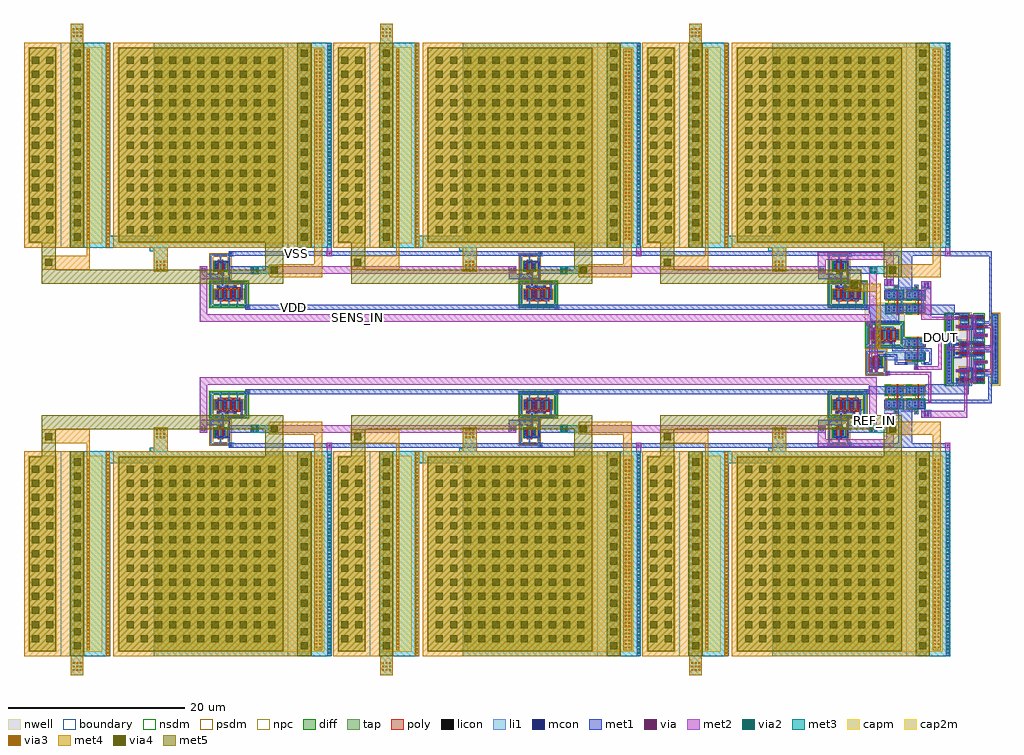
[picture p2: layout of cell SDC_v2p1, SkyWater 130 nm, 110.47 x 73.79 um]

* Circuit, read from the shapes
.subckt SDC_v2p1 DOUT REF_IN SENS_IN VDD VSS
XM1 VSS REF_IN OSC_v3p2_1/N1 VSS sky130_fd_pr__nfet_01v8 w=1 l=0.15 m=2
XM2 VSS SENS_IN OSC_v3p2_2/N1 VSS sky130_fd_pr__nfet_01v8 w=1 l=0.15 m=2
XM3 VSS OSC_v3p2_1/N1 OSC_v3p2_1/BUFFMIN_v1p1_3/VIN VSS sky130_fd_pr__nfet_01v8 w=1 l=0.15 m=2
XM4 VSS OSC_v3p2_2/N1 OSC_v3p2_2/BUFFMIN_v1p1_3/VIN VSS sky130_fd_pr__nfet_01v8 w=1 l=0.15 m=2
XM5 VSS OSC_v3p2_1/BUFFMIN_v1p1_3/VIN REF_IN VSS sky130_fd_pr__nfet_01v8 w=1 l=0.15 m=2
XM6 VSS OSC_v3p2_2/BUFFMIN_v1p1_3/VIN SENS_IN VSS sky130_fd_pr__nfet_01v8 w=1 l=0.15 m=2
XM7 OSC_v3p2_2/CON_CV DOUT SENS_IN VSS sky130_fd_pr__nfet_01v8 w=1 l=0.15 m=2
XM8 OSC_v3p2_1/BUFFMIN_v1p1_3/invmin_magic_v1p1_0/VIN OSC_v3p2_1/BUFFMIN_v1p1_3/VIN VSS VSS sky130_fd_pr__nfet_01v8 w=1 l=0.15
XM9 OSC_v3p2_2/BUFFMIN_v1p1_3/invmin_magic_v1p1_0/VIN OSC_v3p2_2/BUFFMIN_v1p1_3/VIN VSS VSS sky130_fd_pr__nfet_01v8 w=1 l=0.15
XM10 PASSGATE_v1p2_0/INVMIN_v1p1_0/VOUT DOUT VSS VSS sky130_fd_pr__nfet_01v8 w=1 l=0.15
XM11 DFF_v4p1_3/CLK OSC_v3p2_1/BUFFMIN_v1p1_3/invmin_magic_v1p1_0/VIN VSS VSS sky130_fd_pr__nfet_01v8 w=1 l=0.15
XM12 DFF_v4p1_3/IN OSC_v3p2_2/BUFFMIN_v1p1_3/invmin_magic_v1p1_0/VIN VSS VSS sky130_fd_pr__nfet_01v8 w=1 l=0.15
XM13 VSS n1 n2 VSS sky130_fd_pr__nfet_01v8 w=1 l=0.15
XM14 n3 DFF_v4p1_3/CLK VSS VSS sky130_fd_pr__nfet_01v8 w=1 l=0.15
XM15 DFF_v4p1_3/ND n2 n3 VSS sky130_fd_pr__nfet_01v8 w=1 l=0.15
XM16 VSS DOUT DFF_v4p1_3/ND VSS sky130_fd_pr__nfet_01v8 w=1 l=0.15
XM17 DOUT DFF_v4p1_3/ND VSS VSS sky130_fd_pr__nfet_01v8 w=1 l=0.15
XM18 n4 n1 DOUT VSS sky130_fd_pr__nfet_01v8 w=1 l=0.15
XM19 VSS DFF_v4p1_3/CLK n4 VSS sky130_fd_pr__nfet_01v8 w=1 l=0.15
XM20 n1 DFF_v4p1_3/IN VSS VSS sky130_fd_pr__nfet_01v8 w=1 l=0.15
XM21 VDD REF_IN OSC_v3p2_1/N1 VDD sky130_fd_pr__pfet_01v8 w=1 l=0.15 m=6
XM22 VDD SENS_IN OSC_v3p2_2/N1 VDD sky130_fd_pr__pfet_01v8 w=1 l=0.15 m=6
XM23 VDD OSC_v3p2_1/N1 OSC_v3p2_1/BUFFMIN_v1p1_3/VIN VDD sky130_fd_pr__pfet_01v8 w=1 l=0.15 m=6
XM24 VDD OSC_v3p2_2/N1 OSC_v3p2_2/BUFFMIN_v1p1_3/VIN VDD sky130_fd_pr__pfet_01v8 w=1 l=0.15 m=6
XM25 VDD OSC_v3p2_1/BUFFMIN_v1p1_3/VIN REF_IN VDD sky130_fd_pr__pfet_01v8 w=1 l=0.15 m=6
XM26 VDD OSC_v3p2_2/BUFFMIN_v1p1_3/VIN SENS_IN VDD sky130_fd_pr__pfet_01v8 w=1 l=0.15 m=6
XM27 OSC_v3p2_2/CON_CV PASSGATE_v1p2_0/INVMIN_v1p1_0/VOUT SENS_IN VDD sky130_fd_pr__pfet_01v8 w=1 l=0.15 m=6
XM28 OSC_v3p2_1/BUFFMIN_v1p1_3/invmin_magic_v1p1_0/VIN OSC_v3p2_1/BUFFMIN_v1p1_3/VIN VDD VDD sky130_fd_pr__pfet_01v8 w=1 l=0.15
XM29 OSC_v3p2_2/BUFFMIN_v1p1_3/invmin_magic_v1p1_0/VIN OSC_v3p2_2/BUFFMIN_v1p1_3/VIN VDD VDD sky130_fd_pr__pfet_01v8 w=1 l=0.15
XM30 PASSGATE_v1p2_0/INVMIN_v1p1_0/VOUT DOUT VDD VDD sky130_fd_pr__pfet_01v8 w=1 l=0.15
XM31 DFF_v4p1_3/CLK OSC_v3p2_1/BUFFMIN_v1p1_3/invmin_magic_v1p1_0/VIN VDD VDD sky130_fd_pr__pfet_01v8 w=1 l=0.15
XM32 DFF_v4p1_3/IN OSC_v3p2_2/BUFFMIN_v1p1_3/invmin_magic_v1p1_0/VIN VDD VDD sky130_fd_pr__pfet_01v8 w=1 l=0.15
XM33 n5 n1 VDD VDD sky130_fd_pr__pfet_01v8 w=1 l=0.15
XM34 n2 DFF_v4p1_3/CLK n5 VDD sky130_fd_pr__pfet_01v8 w=1 l=0.15
XM35 VDD DOUT DFF_v4p1_3/ND VDD sky130_fd_pr__pfet_01v8 w=1 l=0.15
XM36 DOUT DFF_v4p1_3/ND VDD VDD sky130_fd_pr__pfet_01v8 w=1 l=0.15
XM37 n6 DFF_v4p1_3/CLK n1 VDD sky130_fd_pr__pfet_01v8 w=1 l=0.15
XM38 VDD DFF_v4p1_3/IN n6 VDD sky130_fd_pr__pfet_01v8 w=1 l=0.15
XC39 OSC_v3p2_1/N1 VSS sky130_fd_pr__cap_mim_m3_2 w=3.2 l=22.2
XC40 OSC_v3p2_2/N1 VSS sky130_fd_pr__cap_mim_m3_2 w=3.2 l=22.2
XC41 OSC_v3p2_1/N1 VSS sky130_fd_pr__cap_mim_m3_1 w=3.2 l=22.2
XC42 OSC_v3p2_2/N1 VSS sky130_fd_pr__cap_mim_m3_1 w=3.2 l=22.2
XC43 OSC_v3p2_1/N1 VSS sky130_fd_pr__cap_mim_m3_2 w=18.8 l=22.2
XC44 OSC_v3p2_2/N1 VSS sky130_fd_pr__cap_mim_m3_2 w=18.8 l=22.2
XC45 OSC_v3p2_1/N1 VSS sky130_fd_pr__cap_mim_m3_1 w=18.8 l=22.2
XC46 OSC_v3p2_2/N1 VSS sky130_fd_pr__cap_mim_m3_1 w=18.8 l=22.2
XC47 OSC_v3p2_1/BUFFMIN_v1p1_3/VIN VSS sky130_fd_pr__cap_mim_m3_2 w=3.2 l=22.2
XC48 OSC_v3p2_2/BUFFMIN_v1p1_3/VIN VSS sky130_fd_pr__cap_mim_m3_2 w=3.2 l=22.2
XC49 OSC_v3p2_1/BUFFMIN_v1p1_3/VIN VSS sky130_fd_pr__cap_mim_m3_1 w=3.2 l=22.2
XC50 OSC_v3p2_2/BUFFMIN_v1p1_3/VIN VSS sky130_fd_pr__cap_mim_m3_1 w=3.2 l=22.2
XC51 OSC_v3p2_1/BUFFMIN_v1p1_3/VIN VSS sky130_fd_pr__cap_mim_m3_2 w=18.8 l=22.2
XC52 OSC_v3p2_2/BUFFMIN_v1p1_3/VIN VSS sky130_fd_pr__cap_mim_m3_2 w=18.8 l=22.2
XC53 OSC_v3p2_1/BUFFMIN_v1p1_3/VIN VSS sky130_fd_pr__cap_mim_m3_1 w=18.8 l=22.2
XC54 OSC_v3p2_2/BUFFMIN_v1p1_3/VIN VSS sky130_fd_pr__cap_mim_m3_1 w=18.8 l=22.2
XC55 REF_IN VSS sky130_fd_pr__cap_mim_m3_2 w=3.2 l=22.2
XC56 OSC_v3p2_2/CON_CV VSS sky130_fd_pr__cap_mim_m3_2 w=3.2 l=22.2
XC57 REF_IN VSS sky130_fd_pr__cap_mim_m3_1 w=3.2 l=22.2
XC58 OSC_v3p2_2/CON_CV VSS sky130_fd_pr__cap_mim_m3_1 w=3.2 l=22.2
XC59 REF_IN VSS sky130_fd_pr__cap_mim_m3_2 w=18.8 l=22.2
XC60 SENS_IN VSS sky130_fd_pr__cap_mim_m3_2 w=18.8 l=22.2
XC61 REF_IN VSS sky130_fd_pr__cap_mim_m3_1 w=18.8 l=22.2
XC62 SENS_IN VSS sky130_fd_pr__cap_mim_m3_1 w=18.8 l=22.2
.ends

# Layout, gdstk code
from math import pi, radians
import gdstk
lib = gdstk.Library(unit=1e-6, precision=1e-09)
def R(c, l, rs):  # rectangles x0, y0, x1, y1
    for r in rs: c.add(gdstk.rectangle(r[:2], r[2:], *l))
def A(c, l, x, y, w, h, nx, ny, dx, dy):  # array of equal rectangles
    R(c, l, [(x+i*dx, y+j*dy, x+i*dx+w, y+j*dy+h) for i in range(nx) for j in range(ny)])
nwell = (64, 20)
diff = (65, 20)
tap = (65, 44)
poly = (66, 20)
licon = (66, 44)
li1 = (67, 20)
mcon = (67, 44)
met1 = (68, 20)
via = (68, 44)
met2 = (69, 20)
via2 = (69, 44)
met3 = (70, 20)
via3 = (70, 44)
met4 = (71, 20)
via4 = (71, 44)
met5 = (72, 20)
capm = (89, 44)
nsdm = (93, 44)
psdm = (94, 20)
npc = (95, 20)
cap2m = (97, 44)
boundary = (235, 4)

invmin_v1p1 = lib.new_cell('INVMIN_v1p1')
R(invmin_v1p1, nwell, [(-1.5,1.25,0.85,2.65)])
R(invmin_v1p1, diff, [(-0.7,-0.1,0.65,0.9), (-0.7,1.45,0.65,2.45)])
R(invmin_v1p1, tap, [(-1.3,-0.1,-0.7,0.9), (-1.3,1.45,-0.7,2.45)])
R(invmin_v1p1, poly, [(-0.45,-0.75,0.05,-0.25), (-0.1,-0.25,0.05,2.6)])
R(invmin_v1p1, licon, [(-0.285,-0.585,-0.115,-0.415), (-1.085,0.145,-0.915,0.315), (-0.485,0.145,-0.315,0.315), (0.265,0.145,0.435,0.315), (-1.085,0.485,-0.915,0.655), (-0.485,0.485,-0.315,0.655), (0.265,0.485,0.435,0.655), (-1.085,1.695,-0.915,1.865), (-0.485,1.695,-0.315,1.865), (0.265,1.695,0.435,1.865), (-1.085,2.035,-0.915,2.205), (-0.485,2.035,-0.315,2.205), (0.265,2.035,0.435,2.205)])
R(invmin_v1p1, li1, [(-0.45,-0.75,0.05,-0.5), (-1.5,-0.5,0.05,-0.25), (0.35,-0.5,0.85,-0.25), (0.35,-0.25,0.6,-0.05), (-1.25,-0.05,-0.15,0.85), (0.1,-0.05,0.6,0.85), (0.35,0.85,0.6,1.5), (-1.25,1.5,-0.15,2.4), (0.1,1.5,0.6,2.4)])
R(invmin_v1p1, mcon, [(-1.085,0.135,-0.915,0.305), (-0.485,0.135,-0.315,0.305), (-1.085,0.495,-0.915,0.665), (-0.485,0.495,-0.315,0.665), (-1.085,1.685,-0.915,1.855), (-0.485,1.685,-0.315,1.855), (-1.085,2.045,-0.915,2.215), (-0.485,2.045,-0.315,2.215)])
R(invmin_v1p1, met1, [(-1.5,-0.05,0.85,0.85), (-1.5,1.5,0.85,2.4)])
R(invmin_v1p1, nsdm, [(-0.7,-0.225,0.775,1.025), (-1.08,0.975,-0.32,1.375), (-1.425,1.325,-0.7,2.575)])
R(invmin_v1p1, psdm, [(-1.425,-0.225,-0.7,1.025), (-1.08,0.975,-0.32,1.375), (-0.7,1.325,0.775,2.575)])
R(invmin_v1p1, npc, [(-0.385,-0.685,-0.015,-0.315)])
invmin_v1p1.add(gdstk.Label('VDD', (-1.5,1.95), layer=68, texttype=16))
invmin_v1p1.add(gdstk.Label('VSS', (-1.5,0.4), layer=68, texttype=16))
invmin_v1p1.add(gdstk.Label('VIN', (-1.5,-0.4), layer=67, texttype=16))
invmin_v1p1.add(gdstk.Label('VOUT', (0.85,-0.4), layer=67, texttype=16))

passgate_v1p2 = lib.new_cell('PASSGATE_v1p2')
R(passgate_v1p2, nwell, [(6.83,2.21,11.38,5.4)])
R(passgate_v1p2, diff, [(7.52,0.16,8.77,1.16), (7.52,3.31,10.69,4.31)])
R(passgate_v1p2, tap, [(7.01,-0.71,9.28,-0.54), (7.01,-0.54,7.18,1.86), (9.11,-0.54,9.28,1.86), (7.01,1.86,9.28,2.03), (7.01,2.39,11.2,2.56), (7.01,2.56,7.18,5.05), (11.03,2.56,11.2,5.05), (7.01,5.05,11.2,5.22)])
A(passgate_v1p2, poly, 7.74, 2.82, 0.33, 0.21, 3, 1, 0.96, 0)
A(passgate_v1p2, poly, 7.83, 3.18, 0.15, 1.25, 6, 1, 0.48, 0)
R(passgate_v1p2, poly, [(7.83,-0.1,8.46,0.05), (7.83,0.05,7.98,1.27), (8.31,0.05,8.46,1.27), (7.83,1.27,8.55,1.42), (8.22,1.42,8.55,1.6), (7.74,3.03,10.38,3.15), (7.83,3.15,10.38,3.18), (7.83,4.43,10.38,4.58)])
A(passgate_v1p2, licon, 7.55, -0.71, 0.17, 0.17, 4, 2, 0.34, 2.57)
A(passgate_v1p2, licon, 7.01, -0.105, 0.17, 0.17, 1, 5, 0, 0.34)
A(passgate_v1p2, licon, 9.11, -0.105, 0.17, 0.17, 1, 5, 0, 0.34)
A(passgate_v1p2, licon, 7.58, 0.235, 0.17, 0.17, 3, 3, 0.48, 0.34)
A(passgate_v1p2, licon, 7.49, 2.39, 0.17, 0.17, 10, 2, 0.34, 2.66)
A(passgate_v1p2, licon, 7.01, 2.87, 0.17, 0.17, 1, 6, 0, 0.34)
A(passgate_v1p2, licon, 11.03, 2.87, 0.17, 0.17, 1, 6, 0, 0.34)
A(passgate_v1p2, licon, 7.82, 2.9, 0.17, 0.17, 3, 1, 0.96, 0)
A(passgate_v1p2, licon, 7.58, 3.375, 0.17, 0.17, 7, 3, 0.48, 0.34)
R(passgate_v1p2, licon, [(8.3,1.35,8.47,1.52)])
A(passgate_v1p2, li1, 7.74, 2.9, 0.33, 0.17, 3, 1, 0.96, 0)
A(passgate_v1p2, li1, 8.06, 3.28, 0.17, 1.3, 3, 1, 0.96, 0)
A(passgate_v1p2, li1, 8.54, 3.28, 0.17, 1.04, 3, 1, 0.96, 0)
R(passgate_v1p2, li1, [(7.01,-0.71,9.28,-0.54), (7.01,-0.54,7.18,1.86), (9.11,-0.54,9.28,0.91), (7.46,-0.36,7.75,-0.11), (8.06,-0.36,8.23,1.18), (7.58,-0.11,7.75,1.18), (8.54,0.14,8.71,1.18), (13.53,0.46,13.8,0.71), (11.42,0.5,11.59,0.67), (9.11,0.91,11.63,1.81), (8.22,1.35,8.55,1.52), (9.11,1.81,9.28,1.86), (7.01,1.86,9.28,2.03), (7.01,2.39,11.2,2.46), (7.01,2.46,11.63,2.56), (7.01,2.56,7.18,5.05), (11.03,2.56,11.63,3.36), (7.58,3.28,7.75,4.63), (11.03,3.36,11.2,5.05), (8.06,4.58,10.15,4.75), (7.46,4.63,7.75,4.88), (8.06,4.75,8.23,4.88), (7.01,5.05,11.2,5.22)])
A(passgate_v1p2, mcon, 7.82, 2.9, 0.17, 0.17, 3, 1, 0.96, 0)
A(passgate_v1p2, mcon, 7.58, 3.535, 0.17, 0.17, 4, 2, 0.96, 0.36)
R(passgate_v1p2, mcon, [(7.46,-0.36,7.63,-0.19), (8.06,-0.36,8.23,-0.19), (7.58,0.395,7.75,0.565), (8.54,0.395,8.71,0.565), (11.42,0.5,11.59,0.67), (13.57,0.5,13.74,0.67), (7.58,0.755,7.75,0.925), (8.54,0.755,8.71,0.925), (8.3,1.35,8.47,1.52), (7.46,4.63,7.63,4.8), (8.06,4.63,8.23,4.8)])
A(passgate_v1p2, met1, 7.55, 3.3, 0.23, 0.94, 4, 1, 0.96, 0)
R(passgate_v1p2, met1, [(7.38,-0.44,7.71,-0.11), (7.98,-0.44,8.31,-0.11), (7.58,0.07,8.96,0.16), (7.55,0.16,8.96,0.22), (7.55,0.22,7.78,1.16), (8.51,0.22,8.74,1.16), (13.51,0.43,14.41,0.73), (10.26,0.44,11.65,0.73), (10.26,0.73,10.55,1.31), (14.12,0.73,14.41,1.97), (8.22,1.31,10.55,1.6), (9.97,1.97,14.41,2.26), (9.97,2.26,10.26,2.87), (7.76,2.87,10.26,3.1), (7.55,4.24,10.66,4.3), (7.58,4.3,10.63,4.38), (7.38,4.55,7.71,4.88), (7.98,4.55,8.31,4.88)])
R(passgate_v1p2, via, [(7.47,-0.35,7.62,-0.2), (8.07,-0.35,8.22,-0.2), (7.47,4.64,7.62,4.79), (8.07,4.64,8.22,4.79)])
R(passgate_v1p2, met2, [(7.38,-0.44,7.72,4.88), (7.98,-0.44,8.31,4.88)])
R(passgate_v1p2, nsdm, [(7.395,0.035,8.895,1.285), (6.885,2.265,11.325,2.285), (6.885,2.285,11.455,2.685), (6.885,2.685,7.305,4.925), (10.905,2.685,11.455,3.535), (10.905,3.535,11.325,4.925), (6.885,4.925,11.325,5.345)])
R(passgate_v1p2, psdm, [(6.885,-0.835,9.405,-0.415), (6.885,-0.415,7.305,1.735), (8.985,-0.415,9.405,1.735), (6.885,1.735,9.405,2.155), (7.395,3.185,10.815,4.435)])
A(passgate_v1p2, npc, 7.72, 2.8, 0.37, 0.37, 3, 1, 0.96, 0)
R(passgate_v1p2, npc, [(8.2,1.25,8.57,1.62)])
passgate_v1p2.add(gdstk.Reference(invmin_v1p1, (12.88,0.96)))
passgate_v1p2.add(gdstk.Label('CTR', (8.83,1.44), layer=68, texttype=16))
passgate_v1p2.add(gdstk.Label('VDD', (11.48,2.94), layer=67, texttype=16))
passgate_v1p2.add(gdstk.Label('VSS', (11.03,1.36), layer=67, texttype=16))
passgate_v1p2.add(gdstk.Label('VIN', (7.54,4.7), layer=69, texttype=16))
passgate_v1p2.add(gdstk.Label('VOUT', (8.16,-0.27), layer=69, texttype=16))

inv_v1p1 = lib.new_cell('INV_v1p1')
R(inv_v1p1, nwell, [(6.83,2.21,11.38,5.4)])
R(inv_v1p1, diff, [(7.52,0.16,8.77,1.16), (7.52,3.305,10.69,4.305)])
R(inv_v1p1, tap, [(7.01,-0.71,9.28,-0.54), (7.01,-0.54,7.18,1.86), (9.11,-0.54,9.28,1.86), (7.01,1.86,9.28,2.03), (7.01,2.39,11.2,2.56), (7.01,2.56,7.18,5.05), (11.03,2.56,11.2,5.05), (7.01,5.05,11.2,5.22)])
A(inv_v1p1, poly, 7.74, 2.82, 0.33, 0.21, 3, 1, 0.96, 0)
A(inv_v1p1, poly, 7.83, 3.18, 0.15, 1.25, 6, 1, 0.48, 0)
R(inv_v1p1, poly, [(7.83,-0.1,8.46,0.05), (7.83,0.05,7.98,1.27), (8.31,0.05,8.46,1.27), (7.83,1.27,8.55,1.42), (8.22,1.42,8.55,1.6), (7.74,3.03,10.38,3.15), (7.83,3.15,10.38,3.18), (7.83,4.43,10.38,4.58)])
A(inv_v1p1, licon, 7.55, -0.71, 0.17, 0.17, 4, 2, 0.34, 2.57)
A(inv_v1p1, licon, 7.01, -0.105, 0.17, 0.17, 1, 5, 0, 0.34)
A(inv_v1p1, licon, 9.11, -0.105, 0.17, 0.17, 1, 5, 0, 0.34)
A(inv_v1p1, licon, 7.58, 0.235, 0.17, 0.17, 3, 3, 0.48, 0.34)
A(inv_v1p1, licon, 7.49, 2.39, 0.17, 0.17, 10, 2, 0.34, 2.66)
A(inv_v1p1, licon, 7.01, 2.87, 0.17, 0.17, 1, 6, 0, 0.34)
A(inv_v1p1, licon, 11.03, 2.87, 0.17, 0.17, 1, 6, 0, 0.34)
A(inv_v1p1, licon, 7.82, 2.9, 0.17, 0.17, 3, 1, 0.96, 0)
A(inv_v1p1, licon, 7.58, 3.38, 0.17, 0.17, 7, 3, 0.48, 0.34)
R(inv_v1p1, licon, [(8.3,1.35,8.47,1.52)])
A(inv_v1p1, li1, 7.74, 2.9, 0.33, 0.17, 3, 1, 0.96, 0)
A(inv_v1p1, li1, 7.58, 3.285, 0.17, 1.04, 4, 1, 0.96, 0)
A(inv_v1p1, li1, 8.06, 3.285, 0.17, 1.765, 3, 1, 0.96, 0)
R(inv_v1p1, li1, [(7.01,-0.71,9.28,-0.54), (7.01,-0.54,7.18,1.86), (8.06,-0.54,8.23,1.18), (9.11,-0.54,9.28,1.86), (7.58,0.14,7.75,1.18), (8.54,0.14,8.71,1.18), (8.22,1.35,8.55,1.52), (7.01,1.86,9.28,2.03), (7.01,2.39,11.2,2.56), (7.01,2.56,7.18,5.05), (11.03,2.56,11.2,5.05), (7.01,5.05,11.2,5.22)])
A(inv_v1p1, mcon, 7.82, 2.9, 0.17, 0.17, 3, 1, 0.96, 0)
A(inv_v1p1, mcon, 7.58, 3.54, 0.17, 0.17, 4, 2, 0.96, 0.36)
R(inv_v1p1, mcon, [(7.58,0.395,7.75,0.565), (8.54,0.395,8.71,0.565), (7.58,0.755,7.75,0.925), (8.54,0.755,8.71,0.925), (8.3,1.35,8.47,1.52)])
A(inv_v1p1, met1, 7.55, 3.305, 0.23, 0.935, 3, 1, 0.96, 0)
R(inv_v1p1, met1, [(7.58,0.07,9.28,0.16), (7.55,0.16,9.28,0.22), (7.55,0.22,7.78,1.16), (8.51,0.22,8.74,1.16), (9.11,0.22,9.28,2.39), (8.24,1.32,8.53,1.55), (8.3,1.55,8.47,2.87), (9.11,2.39,10.66,2.56), (10.43,2.56,10.66,4.24), (7.76,2.87,9.97,3.1), (7.55,4.24,10.66,4.305), (7.58,4.305,10.63,4.38)])
R(inv_v1p1, nsdm, [(7.395,0.035,8.895,1.285), (6.885,2.265,11.325,2.685), (6.885,2.685,7.305,4.925), (10.905,2.685,11.325,4.925), (6.885,4.925,11.325,5.345)])
R(inv_v1p1, psdm, [(6.885,-0.835,9.405,-0.415), (6.885,-0.415,7.305,1.735), (8.985,-0.415,9.405,1.735), (6.885,1.735,9.405,2.155), (7.395,3.18,10.815,4.43)])
A(inv_v1p1, npc, 7.72, 2.8, 0.37, 0.37, 3, 1, 0.96, 0)
R(inv_v1p1, npc, [(8.2,1.25,8.57,1.62)])
inv_v1p1.add(gdstk.Label('VIN', (8.37,2.16), layer=68, texttype=16))
inv_v1p1.add(gdstk.Label('VOUT', (9.19,2.15), layer=68, texttype=16))
inv_v1p1.add(gdstk.Label('VDD', (11.12,5.12), layer=67, texttype=16))
inv_v1p1.add(gdstk.Label('VSS', (9.19,-0.61), layer=67, texttype=16))

sky130_fd_pr__cap_mim_m3 = lib.new_cell('sky130_fd_pr__cap_mim_m3_2_7PBNAZ')
R(sky130_fd_pr__cap_mim_m3, met4, [(-3.355,-11.6,3.355,11.6)])
A(sky130_fd_pr__cap_mim_m3, via4, 2.265, -10.8, 0.8, 0.8, 1, 14, 0, 1.6)
A(sky130_fd_pr__cap_mim_m3, via4, -2.455, -10, 0.8, 0.8, 1, 13, 0, 1.6)
A(sky130_fd_pr__cap_mim_m3, via4, -0.855, -10, 0.8, 0.8, 1, 13, 0, 1.6)
R(sky130_fd_pr__cap_mim_m3, met5, [(1.865,-11.605,3.465,11.605), (-2.775,-11.02,0.265,11.02)])
R(sky130_fd_pr__cap_mim_m3, cap2m, [(-2.855,-11.1,0.345,11.1)])
R(sky130_fd_pr__cap_mim_m3, boundary, [(-3.355,-11.6,0.845,11.6)])

c_sky130_fd_pr__cap_mim_m3 = lib.new_cell('sky130_fd_pr__cap_mim_m3_2_4SGG6N')
R(c_sky130_fd_pr__cap_mim_m3, met4, [(-11.155,-11.6,11.155,11.6)])
A(c_sky130_fd_pr__cap_mim_m3, via4, 10.065, -10.8, 0.8, 0.8, 1, 14, 0, 1.6)
A(c_sky130_fd_pr__cap_mim_m3, via4, -9.655, -10, 0.8, 0.8, 11, 13, 1.6, 1.6)
R(c_sky130_fd_pr__cap_mim_m3, met5, [(9.665,-11.605,11.265,11.605), (-10.575,-11.02,8.065,11.02)])
R(c_sky130_fd_pr__cap_mim_m3, cap2m, [(-10.655,-11.1,8.145,11.1)])
R(c_sky130_fd_pr__cap_mim_m3, boundary, [(-11.155,-11.6,8.645,11.6)])

c_sky130_fd_pr__cap_mim_m3_ = lib.new_cell('sky130_fd_pr__cap_mim_m3_1_9K4XRG')
R(c_sky130_fd_pr__cap_mim_m3_, met3, [(-2.28,-11.6,2.28,11.6)])
A(c_sky130_fd_pr__cap_mim_m3_, via3, 1.92, -11.3, 0.2, 0.2, 1, 57, 0, 0.4)
A(c_sky130_fd_pr__cap_mim_m3_, via3, -0.28, -10.7, 0.2, 0.2, 1, 54, 0, 0.4)
R(c_sky130_fd_pr__cap_mim_m3_, met4, [(1.78,-11.54,2.26,11.54), (-0.345,-10.905,-0.015,10.905)])
R(c_sky130_fd_pr__cap_mim_m3_, capm, [(-1.78,-11.1,1.42,11.1)])
R(c_sky130_fd_pr__cap_mim_m3_, boundary, [(-2.28,-11.6,1.92,11.6)])

caposc_v1p1 = lib.new_cell('CAPOSC_v1p1')
R(caposc_v1p1, met2, [(49.69,0.09,50.11,23.11)])
A(caposc_v1p1, via2, 49.8, 0.3, 0.2, 0.2, 1, 57, 0, 0.4)
R(caposc_v1p1, met3, [(20.65,-2.16,22.07,0.01), (30,0,50.16,21.87), (25.08,21.87,50.16,23.2), (30,23.2,31.6,25.95)])
A(caposc_v1p1, via3, 20.87, -1.64, 0.2, 0.2, 3, 3, 0.4, 0.4)
A(caposc_v1p1, via3, 48.34, 0.9, 0.2, 0.2, 1, 54, 0, 0.4)
A(caposc_v1p1, via3, 48.74, 0.9, 0.2, 0.2, 1, 54, 0, 0.4)
A(caposc_v1p1, via3, 30.3, 24.71, 0.2, 0.2, 3, 3, 0.4, 0.4)
R(caposc_v1p1, met4, [(20.65,-2.16,22.07,0.01), (48.17,0.69,49.11,25.07), (22.45,22.49,22.79,24.13), (30,23.2,31.6,25.95), (17.35,24.13,22.79,25.71), (44.24,25.07,49.11,25.16), (43.06,25.16,49.11,26.34), (43.14,26.34,49.11,26.53)])
R(caposc_v1p1, via4, [(17.72,24.48,18.52,25.28), (43.25,25.35,44.05,26.15)])
R(caposc_v1p1, met5, [(17.36,22.5,17.53,22.62), (42.63,22.5,44.68,26.53), (17.36,22.62,18.96,25.7)])
R(caposc_v1p1, capm, [(30.5,0.5,49.3,22.7)])
caposc_v1p1.add(gdstk.Reference(sky130_fd_pr__cap_mim_m3, (18.695,11.6)))
caposc_v1p1.add(gdstk.Reference(c_sky130_fd_pr__cap_mim_m3, (36.615,11.6)))
caposc_v1p1.add(gdstk.Reference(c_sky130_fd_pr__cap_mim_m3_, (22.8,11.6)))
caposc_v1p1.add(gdstk.Label('BOT', (30.7,23.82), layer=71, texttype=16))
caposc_v1p1.add(gdstk.Label('TOP_V', (20.55,24.93), layer=71, texttype=16))
caposc_v1p1.add(gdstk.Label('TOP_B', (46.05,25.76), layer=71, texttype=16))

invandcap_v1p1 = lib.new_cell('INVandCAP_v1p1')
R(invandcap_v1p1, li1, [(23.23,25.82,23.67,26.26), (25.09,31.85,25.59,32.35)])
R(invandcap_v1p1, mcon, [(23.365,25.955,23.535,26.125), (25.255,32.015,25.425,32.185)])
R(invandcap_v1p1, met1, [(23.17,25.76,23.72,25.79), (34.31,25.76,34.84,25.79), (23.17,25.79,34.84,26.29), (23.17,26.29,23.72,26.32), (34.31,26.29,34.84,26.32), (19.88,27.49,20.72,28.33), (23.37,27.49,26.55,28.33), (19.88,28.33,22.56,28.92), (25.06,31.82,25.62,32.38)])
R(invandcap_v1p1, via, [(34.485,25.965,34.635,26.115), (20.065,27.675,20.215,27.825), (20.385,27.675,20.535,27.825), (25.895,27.675,26.045,27.825), (26.215,27.675,26.365,27.825), (20.065,27.995,20.215,28.145), (20.385,27.995,20.535,28.145), (25.895,27.995,26.045,28.145), (26.215,27.995,26.365,28.145)])
R(invandcap_v1p1, met2, [(34.28,25.22,34.84,26.32), (25.69,27.47,26.57,28.35), (19.88,27.49,20.72,28.33)])
R(invandcap_v1p1, via2, [(25.83,27.61,26.03,27.81), (26.23,27.61,26.43,27.81), (25.83,28.01,26.03,28.21), (26.23,28.01,26.43,28.21)])
R(invandcap_v1p1, met3, [(25.7,27.49,28.73,28.33)])
R(invandcap_v1p1, via3, [(28.01,27.61,28.21,27.81), (28.41,27.61,28.61,27.81), (28.01,28.01,28.21,28.21), (28.41,28.01,28.61,28.21)])
R(invandcap_v1p1, met4, [(27.92,27.52,28.7,28.3)])
invandcap_v1p1.add(gdstk.Reference(inv_v1p1, (14.09,26.83)))
invandcap_v1p1.add(gdstk.Reference(caposc_v1p1, (-15.34,2.16)))
invandcap_v1p1.add(gdstk.Label('VDD', (25.17,31.96), layer=68, texttype=16))
invandcap_v1p1.add(gdstk.Label('VSS', (24.92,26.02), layer=68, texttype=16))
invandcap_v1p1.add(gdstk.Label('VOUT', (26.1,27.9), layer=70, texttype=16))

invmin_magic_v1p1 = lib.new_cell('invmin_magic_v1p1')
R(invmin_magic_v1p1, nwell, [(-1.5,1.25,0.85,2.65)])
R(invmin_magic_v1p1, diff, [(-0.7,-0.1,0.65,0.9), (-0.7,1.45,0.65,2.45)])
R(invmin_magic_v1p1, tap, [(-1.3,-0.1,-0.7,0.9), (-1.3,1.45,-0.7,2.45)])
R(invmin_magic_v1p1, poly, [(-0.45,-0.75,0.05,-0.25), (-0.1,-0.25,0.05,2.6)])
R(invmin_magic_v1p1, licon, [(-0.285,-0.585,-0.115,-0.415), (-1.085,0.145,-0.915,0.315), (-0.485,0.145,-0.315,0.315), (0.265,0.145,0.435,0.315), (-1.085,0.485,-0.915,0.655), (-0.485,0.485,-0.315,0.655), (0.265,0.485,0.435,0.655), (-1.085,1.695,-0.915,1.865), (-0.485,1.695,-0.315,1.865), (0.265,1.695,0.435,1.865), (-1.085,2.035,-0.915,2.205), (-0.485,2.035,-0.315,2.205), (0.265,2.035,0.435,2.205)])
R(invmin_magic_v1p1, li1, [(-0.45,-0.75,0.05,-0.5), (-1.5,-0.5,0.05,-0.25), (0.35,-0.5,0.85,-0.25), (0.35,-0.25,0.6,-0.05), (-1.25,-0.05,-0.15,0.85), (0.1,-0.05,0.6,0.85), (0.35,0.85,0.6,1.5), (-1.25,1.5,-0.15,2.4), (0.1,1.5,0.6,2.4)])
R(invmin_magic_v1p1, mcon, [(-1.085,0.135,-0.915,0.305), (-0.485,0.135,-0.315,0.305), (-1.085,0.495,-0.915,0.665), (-0.485,0.495,-0.315,0.665), (-1.085,1.685,-0.915,1.855), (-0.485,1.685,-0.315,1.855), (-1.085,2.045,-0.915,2.215), (-0.485,2.045,-0.315,2.215)])
R(invmin_magic_v1p1, met1, [(-1.5,-0.05,0.85,0.85), (-1.5,1.5,0.85,2.4)])
R(invmin_magic_v1p1, nsdm, [(-0.7,-0.225,0.775,1.025), (-1.08,0.975,-0.32,1.375), (-1.425,1.325,-0.7,2.575)])
R(invmin_magic_v1p1, psdm, [(-1.425,-0.225,-0.7,1.025), (-1.08,0.975,-0.32,1.375), (-0.7,1.325,0.775,2.575)])
R(invmin_magic_v1p1, npc, [(-0.385,-0.685,-0.015,-0.315)])
invmin_magic_v1p1.add(gdstk.Label('VDD', (-1.5,1.95), layer=68, texttype=16))
invmin_magic_v1p1.add(gdstk.Label('VSS', (-1.5,0.4), layer=68, texttype=16))
invmin_magic_v1p1.add(gdstk.Label('VIN', (-1.5,-0.4), layer=67, texttype=16))
invmin_magic_v1p1.add(gdstk.Label('VOUT', (0.85,-0.4), layer=67, texttype=16))

buffmin_v1p1 = lib.new_cell('BUFFMIN_v1p1')
R(buffmin_v1p1, li1, [(-0.15,0.2,0.1,0.45), (4.3,0.2,4.55,0.45)])
R(buffmin_v1p1, met1, [(-0.15,0.65,0.15,1.55), (-0.15,2.2,0.15,3.1)])
R(buffmin_v1p1, nsdm, [(1.745,1.675,2.62,2.075), (2.125,1.685,2.275,1.725), (2.125,2.025,2.275,2.065)])
R(buffmin_v1p1, psdm, [(1.745,1.675,2.62,2.075), (2.125,1.685,2.275,1.725), (2.125,2.025,2.275,2.065)])
buffmin_v1p1.add(gdstk.Reference(invmin_magic_v1p1, (3.7,0.7)))
buffmin_v1p1.add(gdstk.Reference(invmin_magic_v1p1, (1.35,0.7)))
buffmin_v1p1.add(gdstk.Label('VDD', (-0.03,2.66), layer=68, texttype=16))
buffmin_v1p1.add(gdstk.Label('VSS', (-0.07,1.08), layer=68, texttype=16))
buffmin_v1p1.add(gdstk.Label('VIN', (-0.02,0.34), layer=67, texttype=16))
buffmin_v1p1.add(gdstk.Label('VOUT', (4.35,0.31), layer=67, texttype=16))

osc_v3p2 = lib.new_cell('OSC_v3p2')
R(osc_v3p2, li1, [(97.31,29.01,98.37,30.14), (101.52,29.23,102.64,30.14)])
R(osc_v3p2, mcon, [(97.575,29.11,97.745,29.28), (97.935,29.11,98.105,29.28), (101.815,29.38,101.985,29.55), (102.175,29.38,102.345,29.55), (97.575,29.47,97.745,29.64), (97.935,29.47,98.105,29.64), (101.815,29.74,101.985,29.91), (102.175,29.74,102.345,29.91)])
R(osc_v3p2, met1, [(23.61,25.84,104.78,26.34), (98.88,26.34,102.02,26.35), (98.88,26.35,100.46,30.22), (97.31,29.01,98.37,29.75), (101.52,29.23,102.64,30), (97.32,30.22,100.46,30.23), (97.32,30.23,102.02,30.34), (95.56,31.86,97.32,31.87), (25,31.87,97.32,32.43), (95.56,32.43,97.32,32.79)])
R(osc_v3p2, via, [(97.605,29.3,97.755,29.45), (97.925,29.3,98.075,29.45), (101.845,29.57,101.995,29.72), (102.165,29.57,102.315,29.72)])
R(osc_v3p2, met2, [(89.79,25.95,98.38,26.81), (89.8,26.81,90.66,27.52), (97.51,26.81,98.37,29.01), (25.63,27.52,55.66,28.38), (60.63,27.52,90.66,28.38), (95.63,27.52,96.47,32.96), (19.82,27.54,20.66,32.96), (97.31,29.01,98.37,29.75), (101.52,29.23,102.64,30), (19.82,32.96,96.47,33.8)])
A(osc_v3p2, met3, 14.2, 25.01, 0.8, 0.8, 3, 1, 35, 0)
R(osc_v3p2, met5, [(1.96,27.91,29.28,29.51), (36.96,27.91,64.28,29.51), (71.96,27.91,94.68,29.51)])
osc_v3p2.add(gdstk.Reference(invandcap_v1p1, (-0.06,0.05)))
osc_v3p2.add(gdstk.Reference(invandcap_v1p1, (34.94,0.05)))
osc_v3p2.add(gdstk.Reference(invandcap_v1p1, (69.94,0.05)))
osc_v3p2.add(gdstk.Reference(buffmin_v1p1, (97.47,29.69)))
osc_v3p2.add(gdstk.Label('VDD', (28.13,32.12), layer=68, texttype=16))
osc_v3p2.add(gdstk.Label('VSS', (27.56,26.02), layer=68, texttype=16))
osc_v3p2.add(gdstk.Label('N2', (101.81,30), layer=67, texttype=16))
osc_v3p2.add(gdstk.Label('SENS_IN', (20.24,33.33), layer=69, texttype=16))
osc_v3p2.add(gdstk.Label('N1', (35.2,27.9), layer=69, texttype=16))
osc_v3p2.add(gdstk.Label('CON_CV', (80.06,28.77), layer=72, texttype=16))

sky130_fd_pr__nfet_01v8_ = lib.new_cell('sky130_fd_pr__nfet_01v8_6H9P4D')
R(sky130_fd_pr__nfet_01v8_, diff, [(-0.365,-0.5,0.365,0.5)])
R(sky130_fd_pr__nfet_01v8_, poly, [(-0.075,-0.63,0.075,0.63)])
A(sky130_fd_pr__nfet_01v8_, licon, -0.305, -0.425, 0.17, 0.17, 1, 3, 0, 0.34)
A(sky130_fd_pr__nfet_01v8_, licon, 0.135, -0.425, 0.17, 0.17, 1, 3, 0, 0.34)
R(sky130_fd_pr__nfet_01v8_, li1, [(-0.305,-0.52,-0.135,0.52), (0.135,-0.52,0.305,0.52)])
R(sky130_fd_pr__nfet_01v8_, mcon, [(-0.305,-0.265,-0.135,-0.095), (0.135,-0.265,0.305,-0.095), (-0.305,0.095,-0.135,0.265), (0.135,0.095,0.305,0.265)])
R(sky130_fd_pr__nfet_01v8_, met1, [(-0.335,-0.5,-0.105,0.5), (0.105,-0.5,0.335,0.5)])
R(sky130_fd_pr__nfet_01v8_, nsdm, [(-0.49,-0.625,0.49,0.625)])

c_sky130_fd_pr__nfet_01v8_ = lib.new_cell('sky130_fd_pr__nfet_01v8_59MFY5')
R(c_sky130_fd_pr__nfet_01v8_, diff, [(-0.365,-0.345,0.365,0.655)])
R(c_sky130_fd_pr__nfet_01v8_, poly, [(-0.165,-0.785,0.165,-0.455), (-0.075,-0.455,0.075,0.785)])
A(c_sky130_fd_pr__nfet_01v8_, licon, -0.305, -0.27, 0.17, 0.17, 1, 3, 0, 0.34)
A(c_sky130_fd_pr__nfet_01v8_, licon, 0.135, -0.27, 0.17, 0.17, 1, 3, 0, 0.34)
R(c_sky130_fd_pr__nfet_01v8_, licon, [(-0.085,-0.705,0.085,-0.535)])
R(c_sky130_fd_pr__nfet_01v8_, li1, [(-0.165,-0.705,0.165,-0.535), (-0.305,-0.365,-0.135,0.675), (0.135,-0.365,0.305,0.675)])
R(c_sky130_fd_pr__nfet_01v8_, mcon, [(-0.085,-0.705,0.085,-0.535), (-0.305,-0.11,-0.135,0.06), (0.135,-0.11,0.305,0.06), (-0.305,0.25,-0.135,0.42), (0.135,0.25,0.305,0.42)])
R(c_sky130_fd_pr__nfet_01v8_, met1, [(-0.145,-0.735,0.145,-0.505), (-0.335,-0.345,-0.105,0.655), (0.105,-0.345,0.335,0.655)])
R(c_sky130_fd_pr__nfet_01v8_, nsdm, [(-0.49,-0.47,0.49,0.78)])
R(c_sky130_fd_pr__nfet_01v8_, npc, [(-0.185,-0.805,0.185,-0.435)])

sky130_fd_pr__pfet_01v8_ = lib.new_cell('sky130_fd_pr__pfet_01v8_MA8JHN')
R(sky130_fd_pr__pfet_01v8_, nwell, [(-0.545,-0.99,0.545,0.82)])
R(sky130_fd_pr__pfet_01v8_, diff, [(-0.365,-0.68,0.365,0.32)])
R(sky130_fd_pr__pfet_01v8_, poly, [(-0.075,-0.81,0.075,0.475), (-0.165,0.475,0.165,0.805)])
A(sky130_fd_pr__pfet_01v8_, licon, -0.305, -0.605, 0.17, 0.17, 1, 3, 0, 0.34)
A(sky130_fd_pr__pfet_01v8_, licon, 0.135, -0.605, 0.17, 0.17, 1, 3, 0, 0.34)
R(sky130_fd_pr__pfet_01v8_, licon, [(-0.085,0.555,0.085,0.725)])
R(sky130_fd_pr__pfet_01v8_, li1, [(-0.305,-0.7,-0.135,0.34), (0.135,-0.7,0.305,0.34), (-0.165,0.555,0.165,0.725)])
R(sky130_fd_pr__pfet_01v8_, mcon, [(-0.305,-0.445,-0.135,-0.275), (0.135,-0.445,0.305,-0.275), (-0.305,-0.085,-0.135,0.085), (0.135,-0.085,0.305,0.085), (-0.085,0.555,0.085,0.725)])
R(sky130_fd_pr__pfet_01v8_, met1, [(-0.335,-0.68,-0.105,0.32), (0.105,-0.68,0.335,0.32), (-0.145,0.525,0.145,0.755)])
R(sky130_fd_pr__pfet_01v8_, psdm, [(-0.49,-0.805,0.49,0.445)])
R(sky130_fd_pr__pfet_01v8_, npc, [(-0.185,0.455,0.185,0.825)])

dff_v4p1 = lib.new_cell('DFF_v4p1')
R(dff_v4p1, nwell, [(-3.18,0,5.18,3.13)])
R(dff_v4p1, tap, [(-3,-3.09,5,-2.29), (-3,2.14,5,2.94)])
R(dff_v4p1, poly, [(-2.53,-0.21,-2.38,0.18), (0.47,-0.21,0.62,0.18), (1.47,-0.21,1.62,0.18), (4.47,-0.21,4.62,0.18)])
A(dff_v4p1, licon, -2.655, -2.775, 0.17, 0.17, 22, 2, 0.34, 5.23)
R(dff_v4p1, li1, [(-2.88,-2.97,4.88,-2.41), (-3.16,-0.1,3.41,0.07), (-3.16,0.07,-2.99,1.55), (3.24,0.07,3.41,0.29), (1.85,1.16,2.1,1.33), (1.93,1.33,2.1,1.91), (-3.16,1.55,-2.29,1.72), (0.47,1.71,0.64,1.91), (0.47,1.91,2.1,2.08), (-2.88,2.26,4.88,2.83)])
A(dff_v4p1, mcon, -2.685, -2.775, 0.17, 0.17, 21, 2, 0.36, 5.23)
A(dff_v4p1, met1, 1.88, -1.34, 0.33, 1, 3, 1, 1, 0)
A(dff_v4p1, met1, -2.12, 0.31, 0.33, 1, 3, 1, 3, 0)
R(dff_v4p1, met1, [(-2.88,-2.97,4.88,-2.41), (-2.08,-2.41,-1.79,-1.34), (0.65,-2.41,1.44,-0.34), (3.88,-2.41,4.17,-1.34), (-0.62,-1.83,-0.29,-1.5), (2.39,-1.83,2.72,-1.78), (-1.62,-1.82,-1.29,-1.5), (3.38,-1.82,3.71,-1.5), (2.38,-1.78,2.72,-1.5), (-2.15,-1.34,-1.79,-0.34), (-1.12,-1.34,-0.79,-0.34), (-0.12,-1.34,0.21,-0.34), (-2.79,-0.34,-2.56,-0.2), (0.21,-0.34,0.44,0.31), (1.65,-0.34,1.88,0.31), (4.65,-0.34,4.88,-0.2), (-2.82,-0.2,-2.49,-0.13), (4.58,-0.2,4.91,-0.13), (-2.82,-0.13,-1.12,0.1), (3.21,-0.13,4.91,0.1), (-2.82,0.1,-2.49,0.13), (-1.35,0.1,-1.12,0.31), (3.21,0.1,3.44,0.31), (4.58,0.1,4.91,0.13), (-2.96,0.31,-2.79,2.26), (4.88,0.31,5.05,2.26), (-0.04,1.14,0.21,1.31), (-0.04,1.31,0.13,1.89), (-1.63,1.45,-1.28,1.81), (3.37,1.45,3.72,1.81), (-2.62,1.46,-2.29,1.8), (4.38,1.46,4.71,1.8), (0.38,1.47,0.71,1.75), (1.38,1.47,1.71,1.75), (1.46,1.75,1.63,1.89), (-0.04,1.89,1.63,2.06), (-2.96,2.26,5.05,2.83)])
R(dff_v4p1, via, [(-0.53,-1.74,-0.38,-1.59), (2.48,-1.74,2.63,-1.59), (-1.525,-1.735,-1.375,-1.585), (3.475,-1.735,3.625,-1.585), (-2.73,-0.11,-2.58,0.04), (4.67,-0.11,4.82,0.04), (0.97,0.955,1.12,1.105), (-1.53,1.555,-1.38,1.705), (3.47,1.555,3.62,1.705), (0.97,2.475,1.12,2.625)])
R(dff_v4p1, met2, [(-1.61,-2.42,3.71,-2.1), (-1.61,-2.1,-1.29,-1.5), (0.87,-2.1,1.22,0.2), (3.38,-2.1,3.71,-1.9), (3.39,-1.9,3.71,-1.5), (-0.62,-1.83,-0.29,-0.53), (2.39,-1.83,2.72,-0.53), (-2.82,-0.53,-0.29,-0.2), (2.39,-0.53,4.91,-0.2), (-2.82,-0.2,-2.49,0.13), (4.58,-0.2,4.91,0.13), (-1.63,0.2,3.72,0.55), (-1.63,0.55,-1.28,1.81), (3.37,0.55,3.72,1.81), (0.88,0.87,1.21,2.71)])
A(dff_v4p1, nsdm, -1.965, -1.465, 0.02, 1.25, 7, 1, 1, 0)
R(dff_v4p1, nsdm, [(-3.125,2.015,5.125,3.065)])
A(dff_v4p1, psdm, -1.965, 0.185, 0.02, 1.25, 3, 1, 3, 0)
R(dff_v4p1, psdm, [(-3.125,-3.215,5.125,-2.165)])
dff_v4p1.add(gdstk.Reference(sky130_fd_pr__nfet_01v8_, (-2.455,-0.84)))
dff_v4p1.add(gdstk.Reference(c_sky130_fd_pr__nfet_01v8_, (-1.455,-0.995)))
dff_v4p1.add(gdstk.Reference(sky130_fd_pr__pfet_01v8_, (-2.455,0.99)))
dff_v4p1.add(gdstk.Reference(sky130_fd_pr__pfet_01v8_, (-1.455,0.99)))
dff_v4p1.add(gdstk.Reference(c_sky130_fd_pr__nfet_01v8_, (-0.455,-0.995)))
dff_v4p1.add(gdstk.Reference(sky130_fd_pr__nfet_01v8_, (0.545,-0.84)))
dff_v4p1.add(gdstk.Reference(sky130_fd_pr__pfet_01v8_, (0.545,0.99)))
dff_v4p1.add(gdstk.Reference(sky130_fd_pr__nfet_01v8_, (1.545,-0.84)))
dff_v4p1.add(gdstk.Reference(sky130_fd_pr__pfet_01v8_, (1.545,0.99)))
dff_v4p1.add(gdstk.Reference(c_sky130_fd_pr__nfet_01v8_, (2.545,-0.995)))
dff_v4p1.add(gdstk.Reference(c_sky130_fd_pr__nfet_01v8_, (3.545,-0.995)))
dff_v4p1.add(gdstk.Reference(sky130_fd_pr__pfet_01v8_, (3.545,0.99)))
dff_v4p1.add(gdstk.Reference(sky130_fd_pr__nfet_01v8_, (4.545,-0.84)))
dff_v4p1.add(gdstk.Reference(sky130_fd_pr__pfet_01v8_, (4.545,0.99)))
dff_v4p1.add(gdstk.Label('GND', (1.08,-2.71), layer=68, texttype=16))
dff_v4p1.add(gdstk.Label('IN', (4.52,1.64), layer=68, texttype=16))
dff_v4p1.add(gdstk.Label('ND', (0.04,1.6), layer=68, texttype=16))
dff_v4p1.add(gdstk.Label('D', (2,1.6), layer=67, texttype=16))
dff_v4p1.add(gdstk.Label('VDD', (1.04,2.53), layer=69, texttype=16))
dff_v4p1.add(gdstk.Label('CLK', (-1.42,-2.18), layer=69, texttype=16))

sdc_v2p1 = lib.new_cell('SDC_v2p1')
R(sdc_v2p1, nwell, [(103.67,38.33,108.22,40.38), (104,40.38,104.99,41.17)])
R(sdc_v2p1, li1, [(106.12,32.22,106.42,32.52), (109.37,32.84,109.67,33.14), (113.78,36.22,114.08,36.6), (104.33,38.15,107.56,38.32)])
A(sdc_v2p1, mcon, 104.42, 38.15, 0.17, 0.17, 9, 1, 0.36, 0)
R(sdc_v2p1, mcon, [(106.185,32.285,106.355,32.455), (109.435,32.905,109.605,33.075), (113.845,36.365,114.015,36.535)])
R(sdc_v2p1, met1, [(110.53,28.97,118.08,29.37), (117.64,29.37,118.08,31.24), (110.61,30.02,115.47,31.12), (112.95,31.12,115.47,31.16), (117.64,31.24,118.19,32.04), (117.64,32.04,118.08,32.22), (106.06,32.15,106.49,32.59), (109.31,32.78,109.73,33.2), (113.72,36.24,114.14,36.66), (117.79,37.82,118.19,38), (117.79,38,118.08,38.29), (104.29,38.08,107.61,38.38), (117.79,38.29,118.19,39.09), (104.33,38.38,107.57,39.24), (113.94,38.46,114.32,38.83), (110.61,39.03,113.87,40.13), (117.79,39.09,118.08,45.65), (38.89,39.71,39.31,39.98), (113.34,45.65,118.08,46.21), (39.13,45.82,39.6,46.11)])
R(sdc_v2p1, via, [(110.985,29.095,111.135,29.245), (106.195,32.295,106.345,32.445), (109.445,32.915,109.595,33.065), (113.855,36.375,114.005,36.525), (114.03,38.545,114.18,38.695)])
R(sdc_v2p1, met2, [(111.1,27.36,115.31,28.13), (114.97,28.13,115.31,32.64), (110.88,28.99,111.24,32.19), (106.09,32.19,111.24,32.55), (109.34,32.81,112.38,33.18), (112.01,33.18,112.38,36.27), (104.99,35.23,105.51,37.81), (112.01,36.27,114.11,36.64), (103.95,37.81,104.56,38.22), (45.71,38.3,46.87,38.9), (110.11,38.46,114.27,38.78), (110.11,38.78,111.23,42.17)])
A(sdc_v2p1, via2, 105.145, 35.325, 0.2, 0.2, 1, 6, 0, 0.4)
R(sdc_v2p1, met3, [(104.99,35.23,105.51,37.81)])
A(sdc_v2p1, via3, 105.145, 35.525, 0.2, 0.2, 1, 5, 0, 0.4)
R(sdc_v2p1, met4, [(104.99,35.23,105.51,41.6), (102.1,41.6,105.51,41.78), (101.92,41.78,105.51,42.51), (101.92,42.51,103.1,42.96)])
R(sdc_v2p1, via4, [(102.11,41.97,102.91,42.77)])
R(sdc_v2p1, met5, [(103.27,26.04,107.87,27.64), (101.4,41.6,103.27,42.52), (101.4,42.52,103.1,42.96), (101.4,42.96,102.57,43.38)])
sdc_v2p1.add(gdstk.Reference(passgate_v1p2, (96.84,32.93)))
sdc_v2p1.add(gdstk.Reference(osc_v3p2, (8.59,-1.87)))
sdc_v2p1.add(gdstk.Reference(osc_v3p2, (8.59,72.02), x_reflection=True))
sdc_v2p1.add(gdstk.Reference(dff_v4p1, (115.78,34.12), rotation=pi/2))
sdc_v2p1.add(gdstk.Label('VDD', (39.04,39.84), layer=68, texttype=16))
sdc_v2p1.add(gdstk.Label('VSS', (39.37,45.95), layer=68, texttype=16))
sdc_v2p1.add(gdstk.Label('SENS_IN', (46.22,38.66), layer=69, texttype=16))
sdc_v2p1.add(gdstk.Label('DOUT', (112.29,36.44), layer=69, texttype=16))
sdc_v2p1.add(gdstk.Label('REF_IN', (104.78,26.99), layer=72, texttype=16))

lib.write_gds('SDC_v2p1.gds')
